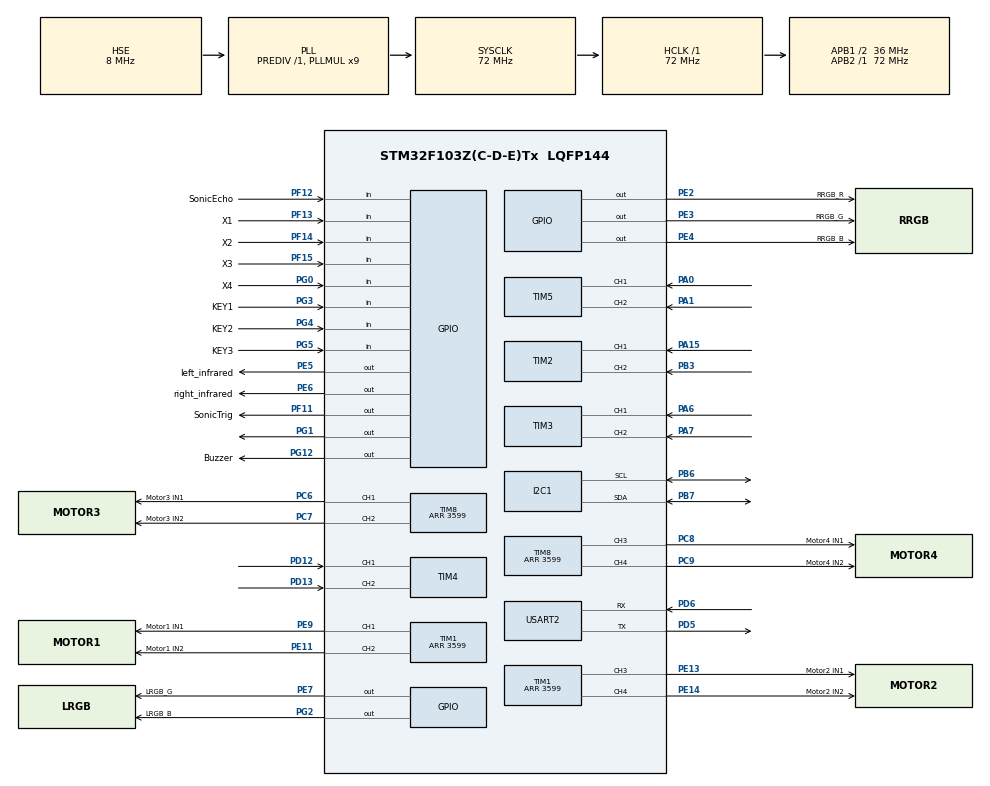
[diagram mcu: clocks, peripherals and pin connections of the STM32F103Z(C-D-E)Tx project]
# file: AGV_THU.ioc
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Mcu.Family=STM32F1
Mcu.Name=STM32F103Z(C-D-E)Tx
Mcu.Package=LQFP144
NVIC.PriorityGroup=NVIC_PRIORITYGROUP_4
NVIC.USART2_IRQn=true\:0\:0\:false\:false\:true\:true\:true\:true
OSC_IN.Mode=HSE-External-Oscillator
OSC_IN.Signal=RCC_OSC_IN
OSC_OUT.Mode=HSE-External-Oscillator
OSC_OUT.Signal=RCC_OSC_OUT
PA0-WKUP.Signal=S_TIM5_CH1
PA1.Signal=S_TIM5_CH2
PA13.Mode=Serial_Wire
PA13.Signal=SYS_JTMS-SWDIO
PA14.Mode=Serial_Wire
PA14.Signal=SYS_JTCK-SWCLK
PA15.Signal=S_TIM2_CH1_ETR
PA6.Signal=S_TIM3_CH1
PA7.Signal=S_TIM3_CH2
PB3.Signal=S_TIM2_CH2
PB6.Mode=I2C
PB6.Signal=I2C1_SCL
PB7.Mode=I2C
PB7.Signal=I2C1_SDA
PC6.GPIO_Label=Motor3 IN1
PC6.Signal=S_TIM8_CH1
PC7.GPIO_Label=Motor3 IN2
PC7.Signal=S_TIM8_CH2
PC8.GPIO_Label=Motor4 IN1
PC8.Signal=S_TIM8_CH3
PC9.GPIO_Label=Motor4 IN2
PC9.Signal=S_TIM8_CH4
PD12.Signal=S_TIM4_CH1
PD13.Signal=S_TIM4_CH2
PD5.Mode=Asynchronous
PD5.Signal=USART2_TX
PD6.Mode=Asynchronous
PD6.Signal=USART2_RX
PE11.GPIO_Label=Motor1 IN2
PE11.Signal=S_TIM1_CH2
PE13.GPIO_Label=Motor2 IN1
PE13.Signal=S_TIM1_CH3
PE14.GPIO_Label=Motor2 IN2
PE14.Signal=S_TIM1_CH4
PE2.GPIO_Label=RRGB_R
PE2.Signal=GPIO_Output
PE3.GPIO_Label=RRGB_G
PE3.Signal=GPIO_Output
PE4.GPIO_Label=RRGB_B
PE4.Signal=GPIO_Output
PE5.GPIO_Label=left_infrared
PE5.GPIO_Speed=GPIO_SPEED_FREQ_MEDIUM
PE5.Signal=GPIO_Output
PE6.GPIO_Label=right_infrared
PE6.GPIO_Speed=GPIO_SPEED_FREQ_MEDIUM
PE6.Signal=GPIO_Output
PE7.GPIO_Label=LRGB_G
PE7.Signal=GPIO_Output
PE9.GPIO_Label=Motor1 IN1
PE9.Signal=S_TIM1_CH1
PF11.GPIO_Label=SonicTrig
PF11.Signal=GPIO_Output
PF12.GPIO_Label=SonicEcho
PF12.Signal=GPIO_Input
PF13.GPIO_Label=X1
PF13.Signal=GPIO_Input
PF14.GPIO_Label=X2
PF14.Signal=GPIO_Input
PF15.GPIO_Label=X3
PF15.Signal=GPIO_Input
PG0.GPIO_Label=X4
PG0.Signal=GPIO_Input
PG1.Signal=GPIO_Output
PG12.GPIO_Label=Buzzer
PG12.Signal=GPIO_Output
PG2.GPIO_Label=LRGB_B
PG2.Signal=GPIO_Output
PG3.GPIO_Label=KEY1
PG3.Signal=GPIO_Input
PG4.GPIO_Label=KEY2
PG4.Signal=GPIO_Input
PG5.GPIO_Label=KEY3
PG5.Signal=GPIO_Input
ProjectManager.HeapSize=0x200
ProjectManager.StackSize=0x400
ProjectManager.TargetToolchain=STM32CubeIDE
RCC.AHBFreq_Value=72000000
RCC.APB1CLKDivider=RCC_HCLK_DIV2
RCC.APB1Freq_Value=36000000
RCC.APB1TimFreq_Value=72000000
RCC.APB2Freq_Value=72000000
RCC.APB2TimFreq_Value=72000000
RCC.HCLKFreq_Value=72000000
RCC.PLLMUL=RCC_PLL_MUL9
RCC.PLLSourceVirtual=RCC_PLLSOURCE_HSE
RCC.SYSCLKFreq_VALUE=72000000
RCC.SYSCLKSource=RCC_SYSCLKSOURCE_PLLCLK
RCC.USBFreq_Value=72000000
SH.S_TIM1_CH1.0=TIM1_CH1,PWM Generation1 CH1
SH.S_TIM1_CH2.0=TIM1_CH2,PWM Generation2 CH2
SH.S_TIM1_CH3.0=TIM1_CH3,PWM Generation3 CH3
SH.S_TIM1_CH4.0=TIM1_CH4,PWM Generation4 CH4
SH.S_TIM2_CH1_ETR.0=TIM2_CH1,Encoder_Interface
SH.S_TIM2_CH2.0=TIM2_CH2,Encoder_Interface
SH.S_TIM3_CH1.0=TIM3_CH1,Encoder_Interface
SH.S_TIM3_CH2.0=TIM3_CH2,Encoder_Interface
SH.S_TIM4_CH1.0=TIM4_CH1,Encoder_Interface
SH.S_TIM4_CH2.0=TIM4_CH2,Encoder_Interface
SH.S_TIM5_CH1.0=TIM5_CH1,Encoder_Interface
SH.S_TIM5_CH2.0=TIM5_CH2,Encoder_Interface
SH.S_TIM8_CH1.0=TIM8_CH1,PWM Generation1 CH1
SH.S_TIM8_CH2.0=TIM8_CH2,PWM Generation2 CH2
SH.S_TIM8_CH3.0=TIM8_CH3,PWM Generation3 CH3
SH.S_TIM8_CH4.0=TIM8_CH4,PWM Generation4 CH4
TIM1.AutoReloadPreload=TIM_AUTORELOAD_PRELOAD_ENABLE
TIM1.Channel-PWM\ Generation1\ CH1=TIM_CHANNEL_1
TIM1.Channel-PWM\ Generation2\ CH2=TIM_CHANNEL_2
TIM1.Channel-PWM\ Generation3\ CH3=TIM_CHANNEL_3
TIM1.Channel-PWM\ Generation4\ CH4=TIM_CHANNEL_4
TIM1.Period=3599
TIM8.AutoReloadPreload=TIM_AUTORELOAD_PRELOAD_ENABLE
TIM8.Channel-PWM\ Generation1\ CH1=TIM_CHANNEL_1
TIM8.Channel-PWM\ Generation2\ CH2=TIM_CHANNEL_2
TIM8.Channel-PWM\ Generation3\ CH3=TIM_CHANNEL_3
TIM8.Channel-PWM\ Generation4\ CH4=TIM_CHANNEL_4
TIM8.Period=3599
USART2.VirtualMode=VM_ASYNC
VP_TIM1_VS_ClockSourceINT.Mode=Internal
VP_TIM8_VS_ClockSourceINT.Mode=Internal
board=custom

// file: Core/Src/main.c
/* USER CODE BEGIN Header */
/**
  ******************************************************************************
  * @file           : main.c
  * @brief          : Main program body
  ******************************************************************************
  * @attention
  *
  * Copyright (c) 2026 STMicroelectronics.
  * All rights reserved.
  *
  * This software is licensed under terms that can be found in the LICENSE file
  * in the root directory of this software component.
  * If no LICENSE file comes with this software, it is provided AS-IS.
  *
  ******************************************************************************
  */
/* USER CODE END Header */
#include "main.h"
#include "i2c.h"
#include "tim.h"
#include "usart.h"
#include "gpio.h"

/* USER CODE BEGIN Includes */
#include "led.h"
#include "buzz.h"
#include "motor.h"
#include "motor_config.h"
#include "irtracking.h"
#include "key.h"
#include "ultrasonic.h"
#include "oled.h"
#include "test_buzz.h"
#include "test_motor.h"
#include "test_oled.h"
#include "test_ultrasonic.h"
#include "test_obstacle.h"
#include "test_ir_avoid.h"
#include "ir_remote.h"
#include "test_ir_remote.h"
#include "encoder.h"
#include "encoder_config.h"
#include "test_encoder.h"
#include "test_line_follow.h"
#include "line_follow_config.h"
#include "k210_comm.h"
#include "test_k210_comm.h"
#include "ultrasonic_overtake.h"
#include "test_ultrasonic_overtake.h"
#include "ir_avoid_drive.h"
#include "test_ir_avoid_drive.h"
#include "follow_avoid.h"
#include "follow_vision.h"
/* USER CODE END Includes */

void SystemClock_Config(void);

int main(void)
{

  /* MCU Configuration--------------------------------------------------------*/

  /* Reset of all peripherals, Initializes the Flash interface and the Systick. */
  HAL_Init();

  /* Configure the system clock */
  SystemClock_Config();

  /* Initialize all configured peripherals */
  MX_GPIO_Init();
  MX_TIM1_Init();
  MX_TIM8_Init();
  MX_I2C1_Init();
  MX_TIM2_Init();
  MX_TIM3_Init();
  MX_TIM4_Init();
  MX_TIM5_Init();
  MX_USART2_UART_Init();
  /* USER CODE BEGIN 2 */
  LED_Init();
  Buzz_Init();
  Motor_Init();
  Encoder_Init();
  IRTracking_Init();
  Key_Init();
  Ultrasonic_Init();
  OLED_Init();
  // TestUltrasonic_Init();   /* 纯测距显示，避障测试时关闭 */
  // TestObstacle_Init();      /* 超声避障 */
  // TestIRAvoid_Init();      /* 红外避障 — 启用前先关闭 TestObstacle，避免抢电机 */
  // TestUltrasonicOvertake_Init();  /* 超声超车避障 */
  // TestIRAvoidDrive_Init();        /* 红外避障驾驶 — 需同时取消 IRAvoid_Tick() 注释 */
  // TestIRRemote_Init();        /* 红外遥控 */
  // TestMotor_Init();           /* 电机测试 */
  // TestEncoder_Init();          /* 编码器测试 */
  // TestLineFollow_Init();        /* 红外循迹测试 */
  // FollowAvoid_Init();           /* 循迹+超声避障综合任务 */
  FollowVision_Init();           /* 循迹+视觉路牌综合任务 */
  // TestIRRemote_Init();           /* 红外遥控 */
  // K210Comm_Init();              /* K210通讯 */
  // TestK210Comm_Init();          /* K210路牌识别测试 */
  // TestVisionLineFollow_Init();   /* 视觉循迹测试 */
  // TestBuzz_Init();
  // TestMotor_Init();
  /* USER CODE END 2 */

  /* Infinite loop */
  while (1)
  {

  }
}

void SystemClock_Config(void)
{
  RCC_OscInitTypeDef RCC_OscInitStruct = {0};
  RCC_ClkInitTypeDef RCC_ClkInitStruct = {0};

  /** Initializes the RCC Oscillators according to the specified parameters
  * in the RCC_OscInitTypeDef structure.
  */
  RCC_OscInitStruct.OscillatorType = RCC_OSCILLATORTYPE_HSE;
  RCC_OscInitStruct.HSEState = RCC_HSE_ON;
  RCC_OscInitStruct.HSEPredivValue = RCC_HSE_PREDIV_DIV1;
  RCC_OscInitStruct.HSIState = RCC_HSI_ON;
  RCC_OscInitStruct.PLL.PLLState = RCC_PLL_ON;
  RCC_OscInitStruct.PLL.PLLSource = RCC_PLLSOURCE_HSE;
  RCC_OscInitStruct.PLL.PLLMUL = RCC_PLL_MUL9;
  if (HAL_RCC_OscConfig(&RCC_OscInitStruct) != HAL_OK)
  {
    Error_Handler();
  }

  /** Initializes the CPU, AHB and APB buses clocks
  */
  RCC_ClkInitStruct.ClockType = RCC_CLOCKTYPE_HCLK|RCC_CLOCKTYPE_SYSCLK
                              |RCC_CLOCKTYPE_PCLK1|RCC_CLOCKTYPE_PCLK2;
  RCC_ClkInitStruct.SYSCLKSource = RCC_SYSCLKSOURCE_PLLCLK;
  RCC_ClkInitStruct.AHBCLKDivider = RCC_SYSCLK_DIV1;
  RCC_ClkInitStruct.APB1CLKDivider = RCC_HCLK_DIV2;
  RCC_ClkInitStruct.APB2CLKDivider = RCC_HCLK_DIV1;

  if (HAL_RCC_ClockConfig(&RCC_ClkInitStruct, FLASH_LATENCY_2) != HAL_OK)
  {
    Error_Handler();
  }
}

void Error_Handler(void)
{
  __disable_irq();
  while (1)
  {
  }
}
